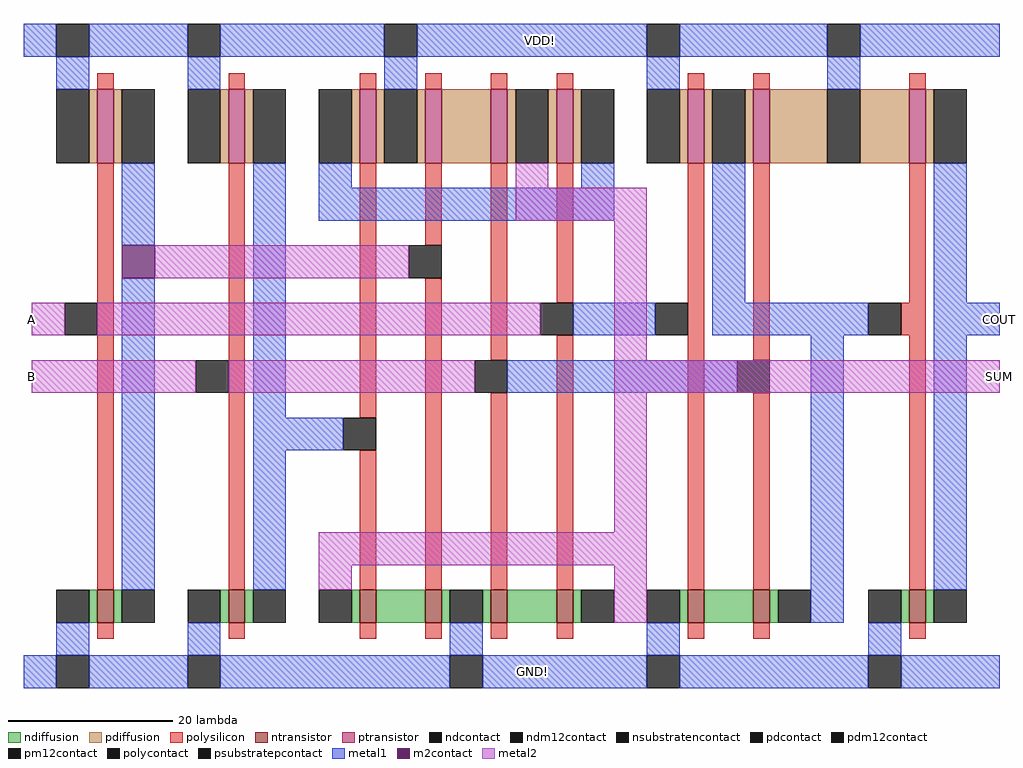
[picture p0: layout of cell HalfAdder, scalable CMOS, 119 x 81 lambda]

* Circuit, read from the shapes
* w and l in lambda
.subckt HalfAdder A B COUT GND! SUM VDD!
M1 n1 A GND! GND! nfet w=4 l=2
M2 n2 B GND! GND! nfet w=4 l=2
M3 n3 n2 SUM GND! nfet w=4 l=2
M4 GND! n1 n3 GND! nfet w=4 l=2
M5 n4 B GND! GND! nfet w=4 l=2
M6 SUM A n4 GND! nfet w=4 l=2
M7 n5 A GND! GND! nfet w=4 l=2
M8 n6 B n5 GND! nfet w=4 l=2
M9 COUT n6 GND! GND! nfet w=4 l=2
M10 n1 A VDD! VDD! pfet w=9 l=2
M11 n2 B VDD! VDD! pfet w=9 l=2
M12 VDD! n2 n7 VDD! pfet w=9 l=2
M13 n8 n1 VDD! VDD! pfet w=9 l=2
M14 SUM B n8 VDD! pfet w=9 l=2
M15 n7 A SUM VDD! pfet w=9 l=2
M16 n6 A VDD! VDD! pfet w=9 l=2
M17 VDD! B n6 VDD! pfet w=9 l=2
M18 COUT n6 VDD! VDD! pfet w=9 l=2
.ends

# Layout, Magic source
magic
tech scmos
<< ntransistor >>
rect 78 -8 80 -4
rect 94 -8 96 -4
rect 110 -8 112 -4
rect 118 -8 120 -4
rect 126 -8 128 -4
rect 134 -8 136 -4
rect 150 -8 152 -4
rect 158 -8 160 -4
rect 177 -8 179 -4
<< ptransistor >>
rect 78 48 80 57
rect 94 48 96 57
rect 110 48 112 57
rect 118 48 120 57
rect 126 48 128 57
rect 134 48 136 57
rect 150 48 152 57
rect 158 48 160 57
rect 177 48 179 57
<< ndiffusion >>
rect 77 -8 78 -4
rect 80 -8 81 -4
rect 93 -8 94 -4
rect 96 -8 97 -4
rect 109 -8 110 -4
rect 112 -8 118 -4
rect 120 -8 121 -4
rect 125 -8 126 -4
rect 128 -8 134 -4
rect 136 -8 137 -4
rect 149 -8 150 -4
rect 152 -8 158 -4
rect 160 -8 161 -4
rect 176 -8 177 -4
rect 179 -8 180 -4
<< pdiffusion >>
rect 77 48 78 57
rect 80 48 81 57
rect 93 48 94 57
rect 96 48 97 57
rect 109 48 110 57
rect 112 48 113 57
rect 117 48 118 57
rect 120 48 126 57
rect 128 48 129 57
rect 133 48 134 57
rect 136 48 137 57
rect 149 48 150 57
rect 152 48 153 57
rect 157 48 158 57
rect 160 48 167 57
rect 171 48 177 57
rect 179 48 180 57
<< ndcontact >>
rect 73 -8 77 -4
rect 81 -8 85 -4
rect 89 -8 93 -4
rect 97 -8 101 -4
rect 121 -8 125 -4
rect 145 -8 149 -4
rect 161 -8 165 -4
rect 172 -8 176 -4
rect 180 -8 184 -4
<< pdcontact >>
rect 73 48 77 57
rect 81 48 85 57
rect 89 48 93 57
rect 97 48 101 57
rect 105 48 109 57
rect 113 48 117 57
rect 137 48 141 57
rect 145 48 149 57
rect 153 48 157 57
rect 167 48 171 57
rect 180 48 184 57
<< psubstratepcontact >>
rect 73 -16 77 -12
rect 89 -16 93 -12
rect 121 -16 125 -12
rect 145 -16 149 -12
rect 172 -16 176 -12
<< nsubstratencontact >>
rect 73 61 77 65
rect 89 61 93 65
rect 113 61 117 65
rect 145 61 149 65
rect 167 61 171 65
<< polysilicon >>
rect 78 57 80 59
rect 94 57 96 59
rect 110 57 112 59
rect 118 57 120 59
rect 126 57 128 59
rect 134 57 136 59
rect 150 57 152 59
rect 158 57 160 59
rect 177 57 179 59
rect 78 -4 80 48
rect 94 -4 96 48
rect 110 17 112 48
rect 118 38 120 48
rect 110 -4 112 13
rect 118 -4 120 34
rect 126 24 128 48
rect 134 31 136 48
rect 126 -4 128 20
rect 134 -4 136 27
rect 150 -4 152 48
rect 158 24 160 48
rect 177 31 179 48
rect 176 27 179 31
rect 158 -4 160 20
rect 177 -4 179 27
rect 78 -10 80 -8
rect 94 -10 96 -8
rect 110 -10 112 -8
rect 118 -10 120 -8
rect 126 -10 128 -8
rect 134 -10 136 -8
rect 150 -10 152 -8
rect 158 -10 160 -8
rect 177 -10 179 -8
<< polycontact >>
rect 108 13 112 17
rect 146 27 150 31
rect 172 27 176 31
rect 156 20 160 24
<< metal1 >>
rect 69 61 73 65
rect 77 61 89 65
rect 93 61 113 65
rect 117 61 145 65
rect 149 61 167 65
rect 171 61 188 65
rect 73 57 77 61
rect 89 57 93 61
rect 113 57 117 61
rect 145 57 149 61
rect 167 57 171 61
rect 81 38 85 48
rect 81 -4 85 34
rect 97 17 101 48
rect 105 45 109 48
rect 137 45 141 48
rect 105 41 141 45
rect 153 31 157 48
rect 180 31 184 48
rect 136 27 146 31
rect 153 27 172 31
rect 180 27 188 31
rect 128 20 156 24
rect 97 13 108 17
rect 97 -4 101 13
rect 165 -8 169 27
rect 180 -4 184 27
rect 73 -12 77 -8
rect 89 -12 93 -8
rect 121 -12 125 -8
rect 145 -12 149 -8
rect 172 -12 176 -8
rect 69 -16 73 -12
rect 77 -16 89 -12
rect 93 -16 121 -12
rect 125 -16 145 -12
rect 149 -16 172 -12
rect 176 -16 188 -12
<< m2contact >>
rect 81 34 85 38
<< pm12contact >>
rect 74 27 78 31
rect 90 20 94 24
rect 116 34 120 38
rect 132 27 136 31
rect 124 20 128 24
<< pdm12contact >>
rect 129 48 133 57
<< ndm12contact >>
rect 105 -8 109 -4
rect 137 -8 141 -4
<< metal2 >>
rect 129 45 133 48
rect 129 41 145 45
rect 85 34 116 38
rect 70 27 74 31
rect 78 27 132 31
rect 141 24 145 41
rect 70 20 90 24
rect 94 20 124 24
rect 141 20 188 24
rect 141 3 145 20
rect 105 -1 145 3
rect 105 -4 109 -1
rect 141 -8 145 -1
<< labels >>
rlabel metal2 70 20 70 24 3 B
rlabel metal2 70 27 70 31 3 A
rlabel metal1 132 63 132 63 5 VDD!
rlabel metal1 131 -14 131 -14 1 GND!
rlabel metal2 188 20 188 24 7 SUM
rlabel metal1 188 27 188 31 7 COUT
<< end >>
